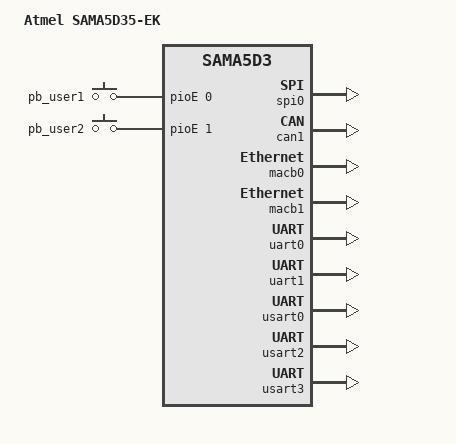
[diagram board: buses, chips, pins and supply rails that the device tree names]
/*
 * sama5d35ek.dts - Device Tree file for SAMA5-EK board
 *
 *  Copyright (C) 2012 Atmel,
 *                2012 Ludovic Desroches <ludovic.desroches@atmel.com>
 *
 * Licensed under GPLv2 or later.
 */
/dts-v1/;
/include/ "sama5d3mb.dtsi"

/ {
	model = "Atmel SAMA5D35-EK";
	compatible = "atmel,sama5d35ek", "atmel,sama5ek", "atmel,sama5d3", "atmel,sama5";

	chosen {
		bootargs = "console=ttyS0,115200 mtdparts=atmel_nand:8M(bootstrap/uboot/kernel)ro,-(rootfs) rw rootfstype=ubifs ubi.mtd=1 root=ubi0:rootfs";
	};

	ahb {
		apb {
			spi0: spi@f0004000 {
				status = "okay";
			};

			can1: can@f8010000 {
				status = "okay";
			};

			macb0: ethernet@f0028000 {
				status = "okay";
			};

			macb1: ethernet@f802c000 {
				status = "okay";
			};
			
			uart0: serial@f0024000 {
				status = "okay";
			};
			
			uart1: serial@f8028000 {
				status = "okay";
			};
			
			usart0: serial@f001c000 {
				pinctrl-names = "default";
				pinctrl-0 = <&pinctrl_usart0 &pinctrl_usart0_rts_cts>;
				linux,rs485-enabled-at-boot-time;
				rs485-rts-delay = <0 0>;
				status = "okay";
			};
			
			usart2: serial@f8020000 {
				pinctrl-names = "default";
				pinctrl-0 = <&pinctrl_usart2 &pinctrl_usart2_rts_cts>;
				status = "okay";
			};
			
			usart3: serial@f8024000 {
				pinctrl-names = "default";
				pinctrl-0 = <&pinctrl_usart3 &pinctrl_usart3_rts_cts>;
				status = "okay";
			};
		};
	};
	
	sound {
		status = "okay";
	};

	gpio_keys {
		compatible = "gpio-keys";
		#address-cells = <1>;
		#size-cells = <0>;

		pb_user1 {
			label = "pb_user1";
			gpios = <&pioE 0 0>;
			linux,code = <0x100>;
			gpio-key,wakeup;
		};
		
		pb_user2 {
			label = "pb_user2";
			gpios = <&pioE 1 0>;
			linux,code = <0x101>;
			gpio-key,wakeup;
		};
	};
};
